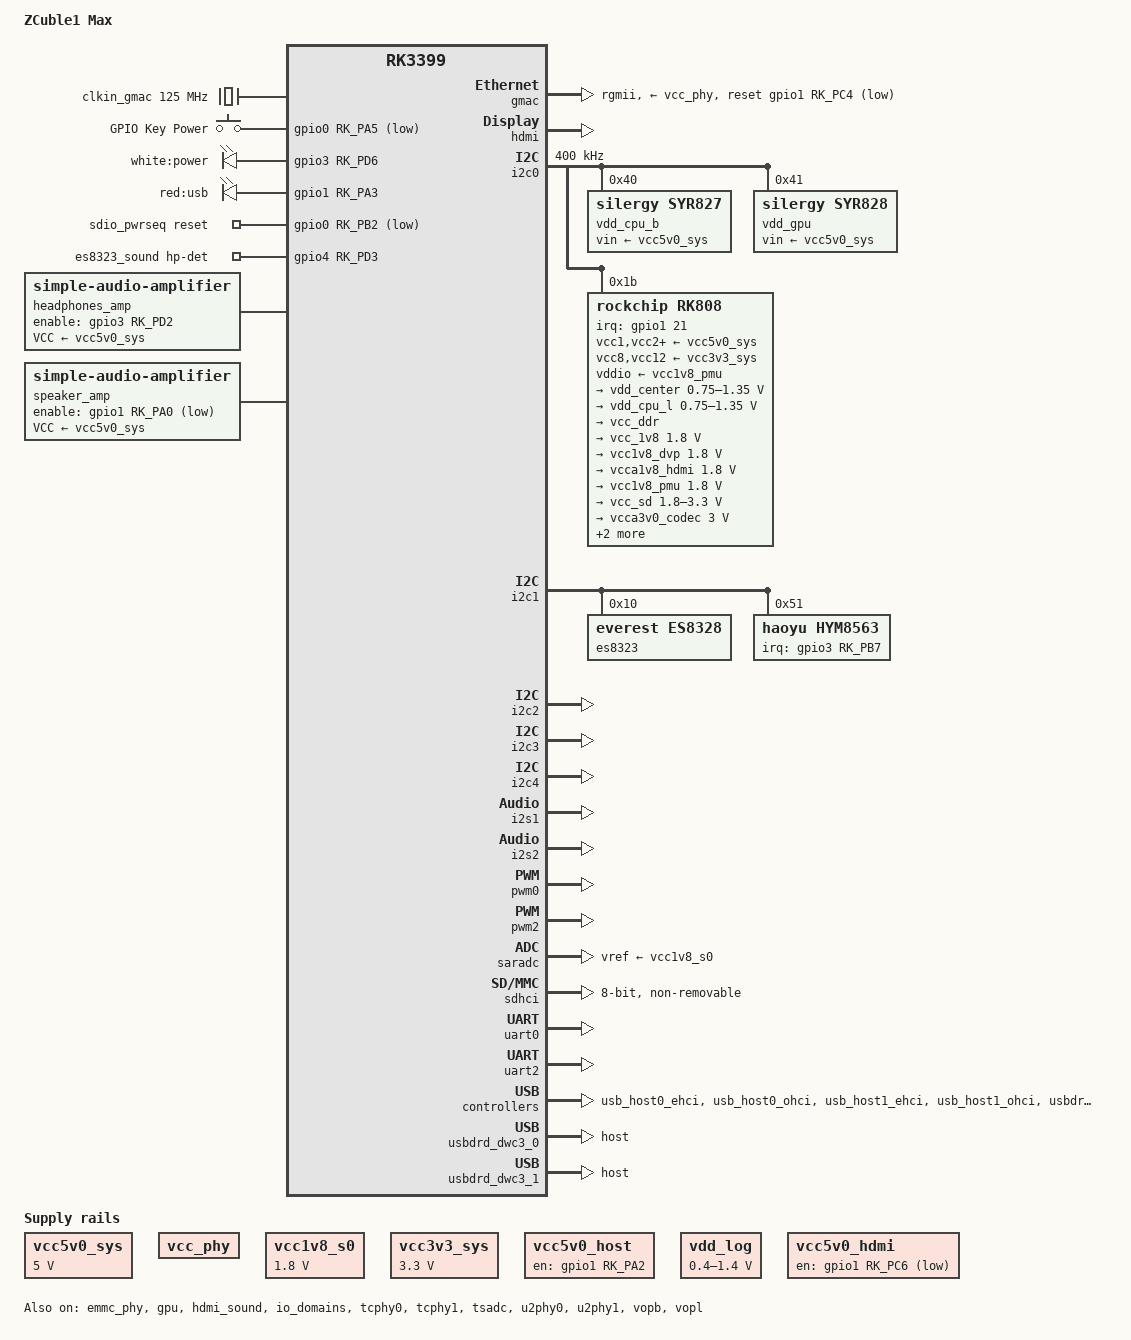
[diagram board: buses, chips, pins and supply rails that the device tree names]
// SPDX-License-Identifier: (GPL-2.0+ OR MIT)
/dts-v1/;
#include <dt-bindings/pwm/pwm.h>
#include <dt-bindings/input/input.h>
#include <dt-bindings/interrupt-controller/irq.h>
#include "rk3399.dtsi"
#include "rk3399-opp.dtsi"

/ {
	model = "ZCuble1 Max";
	compatible = "rockchip,rk3399-zcube1-max", "rockchip,rk3399";

	aliases {
		mmc0 = &sdio0;
		mmc1 = &sdhci;
	};

	chosen {
		stdout-path = "serial2:1500000n8";
	};

	clkin_gmac: external-gmac-clock {
		compatible = "fixed-clock";
		clock-frequency = <125000000>;
		clock-output-names = "clkin_gmac";
		#clock-cells = <0>;
	};

	gpio-keys {
		compatible = "gpio-keys";
		autorepeat;
		pinctrl-names = "default";
		pinctrl-0 = <&pwrbtn>;

		key-power {
			debounce-interval = <100>;
			gpios = <&gpio0 RK_PA5 GPIO_ACTIVE_LOW>;
			label = "GPIO Key Power";
			linux,code = <KEY_POWER>;
			wakeup-source;
		};
	};

	leds {
		compatible = "gpio-leds";
		pinctrl-names = "default";
		pinctrl-0 = <&power_led_pin>, <&usb_led_pin>;
		status = "okay";

		power_led: led-power {
			label = "white:power";
			gpios = <&gpio3 RK_PD6 GPIO_ACTIVE_HIGH>;
			default-state = "on";
			linux,default-trigger = "ir-power-click";
		};

		usb_led: led-usb {
			label = "red:usb";
			gpios = <&gpio1 RK_PA3 GPIO_ACTIVE_HIGH>; // bsp
			default-state = "on";
			linux,default-trigger = "default-on";
		};
	};

	vcc5v0_sys: vcc5v0-sys {
		compatible = "regulator-fixed";
		regulator-name = "vcc5v0_sys";
		regulator-min-microvolt = <5000000>;
		regulator-max-microvolt = <5000000>;
		regulator-always-on;
		regulator-boot-on;
	};

	vcc_phy: vcc-phy-regulator { // bsp
		compatible = "regulator-fixed";
		regulator-name = "vcc_phy";
		regulator-always-on;
		regulator-boot-on;
	};

	vcc1v8_s0: vcc1v8-s0 { // bsp
		compatible = "regulator-fixed";
		regulator-name = "vcc1v8_s0";
		regulator-min-microvolt = <1800000>;
		regulator-max-microvolt = <1800000>;
		regulator-always-on;
		regulator-boot-on;
	};

	vcc3v3_sys: vcc3v3-sys { // bsp
		compatible = "regulator-fixed";
		regulator-name = "vcc3v3_sys";
		regulator-min-microvolt = <3300000>;
		regulator-max-microvolt = <3300000>;
		regulator-always-on;
		regulator-boot-on;
	};

	vcc5v0_host: vcc5v0-host-regulator {
		compatible = "regulator-fixed";
		enable-active-high;
		gpio = <&gpio1 RK_PA2 GPIO_ACTIVE_HIGH>; // bsp
		pinctrl-names = "default";
		pinctrl-0 = <&host_vbus_drv>;
		regulator-name = "vcc5v0_host";
		regulator-always-on;
	};

	vcc5v0_sys: vcc5v0-sys { // sys
		compatible = "regulator-fixed";
		regulator-name = "vcc5v0_sys";
		regulator-always-on;
		regulator-boot-on;
		regulator-min-microvolt = <5000000>;
		regulator-max-microvolt = <5000000>;
	};

	vdd_log: vdd-log { // bsp
		compatible = "pwm-regulator";
		pwms = <&pwm2 0 25000 1>;
		regulator-name = "vdd_log";
		regulator-min-microvolt = <400000>;
		regulator-max-microvolt = <1400000>;
		regulator-always-on;
		regulator-boot-on;
	};

	vcc5v0_hdmi: vcc5v0-hdmi-regulator {
		compatible = "regulator-fixed";
		enable-active-low;
		gpio = <&gpio1 RK_PC6 GPIO_ACTIVE_LOW>; // bsp
		pinctrl-names = "default";
		pinctrl-0 = <&hdmi_power>;
		regulator-name = "vcc5v0_hdmi";
		regulator-always-on;
	};

	sdio_pwrseq: sdio-pwrseq {
		compatible = "mmc-pwrseq-simple";
		clocks = <&rk808 1>;
		clock-names = "ext_clock";
		pinctrl-names = "default";
		pinctrl-0 = <&wifi_reg_on_h>;
		reset-gpios = <&gpio0 RK_PB2 GPIO_ACTIVE_LOW>; // bsp
	};

	es8323_sound: es8323-sound {
		status = "okay";
		compatible = "simple-audio-card";
		pinctrl-names = "default";
		pinctrl-0 = <&hp_det_pin>;

		simple-audio-card,name = "es8323";
		simple-audio-card,format = "i2s";
		simple-audio-card,mclk-fs = <256>;
		simple-audio-card,hp-det-gpio = <&gpio4 RK_PD3 GPIO_ACTIVE_HIGH>;
		simple-audio-card,aux-devs = <&speaker_amp>, <&headphones_amp>;
		simple-audio-card,pin-switches = "Speaker", "Headphones";
		simple-audio-card,widgets =
			"Microphone", "Mic Jack",
			"Headphone", "Headphones",
			"Speaker", "Speaker";
		simple-audio-card,routing =
			"RINPUT1", "Mic Jack",
			"LINPUT1", "Mic Jack",
			"Headphone Amp INL", "LOUT1",
			"Headphone Amp INR", "ROUT1",
			"Headphones", "Headphone Amp OUTL",
			"Headphones", "Headphone Amp OUTR",
			"Speaker Amp INL", "LOUT1",
			"Speaker Amp INR", "ROUT1",
			"Speaker", "Speaker Amp OUTL",
			"Speaker", "Speaker Amp OUTR";
		simple-audio-card,cpu {
			sound-dai = <&i2s1>;
		};
		simple-audio-card,codec {
			sound-dai = <&es8323>;
		};
	};
	/* not amplifier, used as switcher only */
	headphones_amp: headphones-amp {
		compatible = "simple-audio-amplifier";
		pinctrl-names = "default";
		pinctrl-0 = <&hp_con_pin>;
		enable-gpios = <&gpio3 RK_PD2 GPIO_ACTIVE_HIGH>;
		sound-name-prefix = "Headphone Amp";
		VCC-supply = <&vcc5v0_sys>;
	};

	speaker_amp: analog-amplifier@1 {
		compatible = "simple-audio-amplifier";
		pinctrl-names = "default";
		pinctrl-0 = <&spk_ctl_pin>;
		enable-gpios = <&gpio1 RK_PA0 GPIO_ACTIVE_LOW>;
		sound-name-prefix = "Speaker Amp";
		VCC-supply = <&vcc5v0_sys>;
	};
};

&cpu_l0 {
	cpu-supply = <&vdd_cpu_l>;
};

&cpu_l1 {
	cpu-supply = <&vdd_cpu_l>;
};

&cpu_l2 {
	cpu-supply = <&vdd_cpu_l>;
};

&cpu_l3 {
	cpu-supply = <&vdd_cpu_l>;
};

&cpu_b0 {
	cpu-supply = <&vdd_cpu_b>;
};

&cpu_b1 {
	cpu-supply = <&vdd_cpu_b>;
};

&emmc_phy {
	status = "okay";
};

&gmac {
	assigned-clocks = <&cru SCLK_RMII_SRC>;
	assigned-clock-parents = <&clkin_gmac>;
	clock_in_out = "input";
	phy-supply = <&vcc_phy>;
	phy-mode = "rgmii";
	pinctrl-names = "default";
	pinctrl-0 = <&rgmii_pins>;
	snps,reset-gpio = <&gpio1 RK_PC4 GPIO_ACTIVE_LOW>;
	snps,reset-active-low;
	snps,reset-delays-us = <0 10000 50000>;
	tx_delay = <0x2b>;
	rx_delay = <0x29>;
	status = "okay";
};

&gpu {
	status = "okay";
	mali-supply = <&vdd_gpu>;
};

&hdmi {
 // avdd-0v9-supply = <&vcca0v9_hdmi>;
 // avdd-1v8-supply = <&vcca1v8_hdmi>;
	ddc-i2c-bus = <&i2c3>;
	pinctrl-names = "default";
	pinctrl-0 = <&hdmi_cec>;
 // pinctrl-0 = <&hdmi_i2c_xfer>;
	status = "okay";
};

&hdmi_sound {
	status = "okay";
};

/*
dp-det-gpios = <&gpio4 RK_PD1 GPIO_ACTIVE_HIGH>;
hdmi-5v-gpios = <&gpio1 RK_PC6 GPIO_ACTIVE_LOW>;
*/

// &cdn_dp {
// 	status = "okay";
// };

&i2c0 {
	status = "okay";
	i2c-scl-rising-time-ns = <180>;
	i2c-scl-falling-time-ns = <30>;
	clock-frequency = <400000>;

	vdd_cpu_b: syr827@40 {
		compatible = "silergy,syr827";
		reg = <0x40>;
		regulator-compatible = "fan53555-reg";
		pinctrl-0 = <&vsel1_pin>;
		regulator-name = "vdd_cpu_b";
		regulator-min-microvolt = <712500>;
		regulator-max-microvolt = <1500000>;
		regulator-ramp-delay = <1000>;
		fcs,suspend-voltage-selector = <1>;
		regulator-always-on;
		regulator-boot-on;
		vin-supply = <&vcc5v0_sys>;
		regulator-initial-mode = <3>;
		regulator-state-mem {
			regulator-off-in-suspend;
		};
	};

	vdd_gpu: syr828@41 {
		compatible = "silergy,syr828";
		reg = <0x41>;
		regulator-compatible = "fan53555-reg";
		pinctrl-0 = <&vsel2_pin>;
		regulator-name = "vdd_gpu";
		regulator-min-microvolt = <712500>;
		regulator-max-microvolt = <1500000>;
		regulator-ramp-delay = <1000>;
		fcs,suspend-voltage-selector = <1>;
		regulator-always-on;
		regulator-boot-on;
		vin-supply = <&vcc5v0_sys>;
		regulator-initial-mode = <3>;
		regulator-state-mem {
			regulator-off-in-suspend;
		};
	};

	rk808: pmic@1b {
		compatible = "rockchip,rk808";
		reg = <0x1b>;
		interrupt-parent = <&gpio1>;
		interrupts = <21 IRQ_TYPE_LEVEL_LOW>;
		pinctrl-names = "default";
		pinctrl-0 = <&pmic_int_l>;
		rockchip,system-power-controller;
		wakeup-source;
		#clock-cells = <1>;
		clock-output-names = "xin32k", "rtc_clko_wifi";

		vcc1-supply = <&vcc5v0_sys>;
		vcc2-supply = <&vcc5v0_sys>;
		vcc3-supply = <&vcc5v0_sys>;
		vcc4-supply = <&vcc5v0_sys>;
		vcc6-supply = <&vcc5v0_sys>;
		vcc7-supply = <&vcc5v0_sys>;
		vcc8-supply = <&vcc3v3_sys>;
		vcc9-supply = <&vcc5v0_sys>;
		vcc10-supply = <&vcc5v0_sys>;
		vcc11-supply = <&vcc5v0_sys>;
		vcc12-supply = <&vcc3v3_sys>;
		vddio-supply = <&vcc1v8_pmu>;

		regulators {
			vdd_center: DCDC_REG1 {
				regulator-name = "vdd_center";
				regulator-min-microvolt = <750000>;
				regulator-max-microvolt = <1350000>;
				regulator-ramp-delay = <6001>;
				regulator-always-on;
				regulator-boot-on;
				regulator-state-mem {
					regulator-off-in-suspend;
				};
			};

			vdd_cpu_l: DCDC_REG2 {
				regulator-name = "vdd_cpu_l";
				regulator-min-microvolt = <750000>;
				regulator-max-microvolt = <1350000>;
				regulator-ramp-delay = <6001>;
				regulator-always-on;
				regulator-boot-on;
				regulator-state-mem {
					regulator-off-in-suspend;
				};
			};

			vcc_ddr: DCDC_REG3 {
				regulator-name = "vcc_ddr";
				regulator-always-on;
				regulator-boot-on;
				regulator-state-mem {
					regulator-on-in-suspend;
				};
			};

			vcc_1v8: DCDC_REG4 {
				regulator-name = "vcc_1v8";
				regulator-min-microvolt = <1800000>;
				regulator-max-microvolt = <1800000>;
				regulator-always-on;
				regulator-boot-on;
				regulator-state-mem {
					regulator-on-in-suspend;
					regulator-suspend-microvolt = <1800000>;
				};
			};

			vcc1v8_dvp: LDO_REG1 {
				regulator-name = "vcc1v8_dvp";
				regulator-min-microvolt = <1800000>;
				regulator-max-microvolt = <1800000>;
				regulator-always-on;
				regulator-boot-on;
				regulator-state-mem {
					regulator-off-in-suspend;
				};
			};

			vcca1v8_hdmi: LDO_REG2 {
				regulator-name = "vcca1v8_hdmi";
				regulator-min-microvolt = <1800000>;
				regulator-max-microvolt = <1800000>;
				regulator-always-on;
				regulator-boot-on;
				regulator-state-mem {
					regulator-off-in-suspend;
				};
			};

			vcc1v8_pmu: LDO_REG3 {
				regulator-name = "vcc1v8_pmu";
				regulator-min-microvolt = <1800000>;
				regulator-max-microvolt = <1800000>;
				regulator-always-on;
				regulator-boot-on;
				regulator-state-mem {
					regulator-on-in-suspend;
					regulator-suspend-microvolt = <1800000>;
				};
			};

			vcc_sd: LDO_REG4 {
				regulator-name = "vcc_sd";
				regulator-min-microvolt = <1800000>;
				regulator-max-microvolt = <3300000>;
				regulator-always-on;
				regulator-boot-on;
				regulator-state-mem {
					regulator-on-in-suspend;
					regulator-suspend-microvolt = <3300000>;
				};
			};

			vcca3v0_codec: LDO_REG5 {
				regulator-name = "vcca3v0_codec";
				regulator-min-microvolt = <3000000>;
				regulator-max-microvolt = <3000000>;
				regulator-always-on;
				regulator-boot-on;
				regulator-state-mem {
					regulator-off-in-suspend;
				};
			};

			vcc_1v5: LDO_REG6 {
				regulator-name = "vcc_1v5";
				regulator-min-microvolt = <1500000>;
				regulator-max-microvolt = <1500000>;
				regulator-always-on;
				regulator-boot-on;
				regulator-state-mem {
					regulator-on-in-suspend;
					regulator-suspend-microvolt = <1500000>;
				};
			};

			vcca0v9_hdmi: LDO_REG7 {
				regulator-name = "vcca0v9_hdmi";
				regulator-min-microvolt = <900000>;
				regulator-max-microvolt = <900000>;
				regulator-always-on;
				regulator-boot-on;
				regulator-state-mem {
					regulator-off-in-suspend;
				};
			};

			vcc_3v0: LDO_REG8 {
				regulator-name = "vcc_3v0";
				regulator-min-microvolt = <3000000>;
				regulator-max-microvolt = <3000000>;
				regulator-always-on;
				regulator-boot-on;
				regulator-state-mem {
					regulator-on-in-suspend;
					regulator-suspend-microvolt = <3000000>;
				};
			};

			vcc3v3_s3: SWITCH_REG1 {
				regulator-name = "vcc3v3_s3";
				regulator-always-on;
				regulator-boot-on;
				regulator-state-mem {
					regulator-off-in-suspend;
				};
			};

			vcc3v3_s0: SWITCH_REG2 {
				regulator-name = "vcc3v3_s0";
				regulator-always-on;
				regulator-boot-on;
				regulator-state-mem {
					regulator-off-in-suspend;
				};
			};
		};
	};
};

&i2c1 {
	i2c-scl-rising-time-ns = <300>;
	i2c-scl-falling-time-ns = <15>;
	status = "okay";

/*
	es8323@10 { // no driver
		compatible = "everest,es8323";
		reg = <0x10>;
		spk-ctl-gpio = <&gpio1 RK_PA0 GPIO_ACTIVE_HIGH>;
		clock-names = "mclk";
		clocks = <&cru SCLK_I2S_8CH_OUT>;
		pinctrl-names = "default";
		pinctrl-0 = <&i2s_8ch_mclk_pin>;
		#sound-dai-cells = <0x00>;
		status = "okay";
		spk-con-gpio = <&gpio3 RK_PD2 GPIO_ACTIVE_LOW>;
		hp-det-gpio = <&gpio4 RK_PD3 GPIO_ACTIVE_LOW>;
	};
*/
	es8323: es8323@10 {
		compatible = "everest,es8328", "everest,es8323";
		reg = <0x10>;
		clock-names = "mclk";
		clocks = <&cru SCLK_I2S_8CH_OUT>;
		#sound-dai-cells = <0>;
	};

	hym8563: rtc@51 {
		compatible = "haoyu,hym8563";
		reg = <0x51>;
		interrupt-parent = <&gpio3>;
		interrupts = <RK_PB7 IRQ_TYPE_EDGE_FALLING>; // bsp
		#clock-cells = <0>;
		clock-output-names = "xin32k";
		pinctrl-names = "default";
		pinctrl-0 = <&hym8563_int>;
	};
};

&i2c2 {
	i2c-scl-rising-time-ns = <300>;
	i2c-scl-falling-time-ns = <15>;
	status = "okay";

	aw2028@65 { // no driver
		compatible = "awinic,aw2028_i2c";
		reg = <0x65>;
		// status = "okay";
		status = "disabled";

	};

	aw2015@64 { // no driver
		compatible = "awinic,aw2015_led";
		reg = <0x64>;
		status = "disabled";

		aw2015,blue {
			aw2015,name = "blue";
			aw2015,id = <0>;
			aw2015,imax = <3>;
			aw2015,led-current = <255>;
			aw2015,max-brightness = <255>;
			aw2015,rise-time-ms = <10>;
			aw2015,hold-time-ms = <7>;
			aw2015,fall-time-ms = <10>;
			aw2015,off-time-ms = <2>;
		};
		aw2015,green {
			aw2015,name = "green";
			aw2015,id = <1>;
			aw2015,imax = <3>;
			aw2015,led-current = <255>;
			aw2015,max-brightness = <255>;
			aw2015,rise-time-ms = <9>;
			aw2015,hold-time-ms = <6>;
			aw2015,fall-time-ms = <9>;
			aw2015,off-time-ms = <1>;
		};
		aw2015,red {
			aw2015,name = "red";
			aw2015,id = <2>;
			aw2015,imax = <3>;
			aw2015,led-current = <255>;
			aw2015,max-brightness = <255>;
			aw2015,rise-time-ms = <8>;
			aw2015,hold-time-ms = <5>;
			aw2015,fall-time-ms = <8>;
			aw2015,off-time-ms = <0>;
		};
	};
};

// HDMI
&i2c3 {
	i2c-scl-rising-time-ns = <450>;
	i2c-scl-falling-time-ns = <15>;
	status = "okay";
};

&i2c4 {
	i2c-scl-rising-time-ns = <600>;
	i2c-scl-falling-time-ns = <40>;
	status = "okay";
};

// es8323
&i2s1 {
	rockchip,playback-channels = <2>;
	rockchip,capture-channels = <2>;
	status = "okay";
};

// HDMI sound
&i2s2 {
	rockchip,playback-channels = <2>;
	rockchip,capture-channels = <2>;
	status = "okay";
};

&io_domains {
	status = "okay";
	audio-supply = <&vcc1v8_s0>;
	bt656-supply = <&vcc1v8_s0>;
	gpio1830-supply = <&vcc_3v0>;
};

&pmu_io_domains {
	status = "okay";
	pmu1830-supply = <&vcc_1v8>;
};

&pinctrl {
	buttons {
		pwrbtn: pwrbtn {
			rockchip,pins = <0 RK_PA5 RK_FUNC_GPIO &pcfg_pull_up>;
		};
	};

	hym8563 {
		hym8563_int: hym8563-int {
			rockchip,pins = <3 RK_PB7 RK_FUNC_GPIO &pcfg_pull_none>; // bsp
		};
	};

	es8323 {
		/* speaker ctrl */
		spk_ctl_pin: spk-ctl-pin {
			rockchip,pins = <1 RK_PA0 RK_FUNC_GPIO &pcfg_output_high>;
		};

		/* headphone ctrl */
		hp_con_pin: hp-con-pin {
			rockchip,pins = <3 RK_PD2 RK_FUNC_GPIO &pcfg_pull_down>;
		};

		/* detect headphone */
		hp_det_pin: hp-det-pin {
			rockchip,pins = <4 RK_PD3 RK_FUNC_GPIO &pcfg_pull_down>;
		};
	};

	leds {
		power_led_pin: power-led-pin {
			rockchip,pins = <3 RK_PD6 RK_FUNC_GPIO &pcfg_pull_none>;
		};

		usb_led_pin: usb-led-pin {
			rockchip,pins = <1 RK_PA3 RK_FUNC_GPIO &pcfg_pull_none>;
		};
	};

	pmic {
		pmic_int_l: pmic-int-l {
			rockchip,pins =
				<1 RK_PC5 RK_FUNC_GPIO &pcfg_pull_up>;
		};

		vsel1_pin: vsel1-pin {
			rockchip,pins =
				<1 RK_PC1 RK_FUNC_GPIO &pcfg_pull_down>;
		};

		vsel2_pin: vsel2-pin {
			rockchip,pins =
				<1 RK_PB6 RK_FUNC_GPIO &pcfg_pull_down>;
		};
	};

	sdio {
		bt_host_wake_l: bt-host-wake-l {
			rockchip,pins = <0 RK_PA4 RK_FUNC_GPIO &pcfg_pull_none>;
		};

		bt_reg_on_h: bt-reg-on-h {
			/* external pullup to VCC1V8_PMUPLL */
			rockchip,pins = <0 RK_PB1 RK_FUNC_GPIO &pcfg_pull_none>;
		};

		bt_wake_l: bt-wake-l {
			rockchip,pins = <2 RK_PD2 RK_FUNC_GPIO &pcfg_pull_none>;
		};

		wifi_reg_on_h: wifi-reg_on-h {
			rockchip,pins = <0 RK_PB2 RK_FUNC_GPIO &pcfg_pull_none>; // bsp
		};
	};

	wifi {
		wifi_host_wake_l: wifi-host-wake-l {
			rockchip,pins = <0 RK_PA3 RK_FUNC_GPIO &pcfg_pull_none>; // bsp
		};
	};

	usb2 {
		host_vbus_drv: host-vbus-drv {
			rockchip,pins =
				<1 RK_PA2 RK_FUNC_GPIO &pcfg_pull_none>; // bsp
		};
	};

	hdmi {
		hdmi_power: hdmi-power {
			rockchip,pins =
				<1 RK_PC6 RK_FUNC_GPIO &pcfg_pull_none>; // bsp
		};
	};

	i2s0 {
		i2s_8ch_mclk_pin: i2s-8ch-mclk-pin {
			rockchip,pins = <4 RK_PA0 1 &pcfg_pull_none>; // bsp
		};
	};
};

&pwm0 {
	pinctrl-names = "active";
	status = "okay";
};

&pwm2 {
	pinctrl-names = "active";
	status = "okay";
};

&saradc {
	vref-supply = <&vcc1v8_s0>;
	status = "okay";
};

&sdhci {
	bus-width = <8>;
	mmc-hs200-1_8v;
	non-removable;
	status = "okay";
};

&sdio0 {
	bus-width = <4>;
	clock-frequency = <50000000>;
	cap-sdio-irq;
	cap-sd-highspeed;
	keep-power-in-suspend;
	mmc-pwrseq = <&sdio_pwrseq>;
	non-removable;
	pinctrl-names = "default";
	pinctrl-0 = <&sdio0_bus4 &sdio0_cmd &sdio0_clk>;
	sd-uhs-sdr104;
	#address-cells = <1>;
	#size-cells = <0>;
	// status = "okay";
	status = "disabled";

	brcmf: wifi@1 {
		compatible = "brcm,bcm4329-fmac";
		reg = <1>;
		interrupt-parent = <&gpio0>; // bsp
		interrupts = <RK_PA3 IRQ_TYPE_LEVEL_HIGH>;
		interrupt-names = "host-wake";
		pinctrl-names = "default";
		pinctrl-0 = <&wifi_host_wake_l>;
		// status = "okay";
		status = "disabled";
	};
};

&tcphy0 {
	status = "okay";
};

&tcphy1 {
	status = "okay";
};

&tsadc {
	/* tshut mode 0:CRU 1:GPIO */
	rockchip,hw-tshut-mode = <1>;
	/* tshut polarity 0:LOW 1:HIGH */
	rockchip,hw-tshut-polarity = <1>;
	status = "okay";
};

&u2phy0 {
	status = "okay";

	u2phy0_host: host-port {
		phy-supply = <&vcc5v0_host>;
		status = "okay";
	};

	u2phy0_otg: otg-port {
		status = "okay";
	};
};

&u2phy1 {
	status = "okay";

	u2phy1_host: host-port {
		phy-supply = <&vcc5v0_host>;
		status = "okay";
	};

	u2phy1_otg: otg-port {
		status = "okay";
	};
};

&uart0 {
	pinctrl-names = "default";
	pinctrl-0 = <&uart0_xfer &uart0_rts &uart0_cts>;
	status = "okay";

	bluetooth {
		compatible = "brcm,bcm43438-bt";
		clocks = <&rk808 1>;
		clock-names = "ext_clock";
		device-wakeup-gpios = <&gpio2 RK_PD3 GPIO_ACTIVE_HIGH>; // bsp
		host-wakeup-gpios = <&gpio0 RK_PA4 GPIO_ACTIVE_HIGH>;
		shutdown-gpios = <&gpio0 RK_PB1 GPIO_ACTIVE_HIGH>;
		max-speed = <4000000>;
		pinctrl-names = "default";
		pinctrl-0 = <&bt_reg_on_h &bt_host_wake_l &bt_wake_l>;
		vbat-supply = <&vcc3v3_sys>;
		vddio-supply = <&vcc_1v8>;
		status = "disabled";
	};
};

&uart2 {
	status = "okay";
};

&usb_host0_ehci {
	status = "okay";
};

&usb_host0_ohci {
	status = "okay";
};

&usb_host1_ehci {
	status = "okay";
};

&usb_host1_ohci {
	status = "okay";
};

&usbdrd3_0 {
	status = "okay";
};

&usbdrd_dwc3_0 {
	status = "okay";
	dr_mode = "host";
};

&usbdrd3_1 {
	status = "okay";
};

&usbdrd_dwc3_1 {
	status = "okay";
	dr_mode = "host";
};

&vopb {
	status = "okay";
};

&vopb_mmu {
	status = "okay";
};

&vopl {
	status = "okay";
};

&vopl_mmu {
	status = "okay";
};
